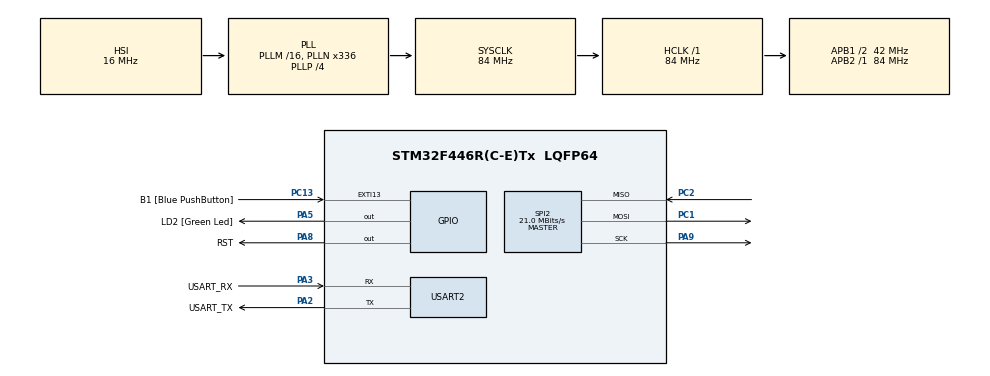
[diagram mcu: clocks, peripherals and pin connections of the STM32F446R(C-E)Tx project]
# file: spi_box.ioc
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Mcu.Family=STM32F4
Mcu.Name=STM32F446R(C-E)Tx
Mcu.Package=LQFP64
NVIC.PriorityGroup=NVIC_PRIORITYGROUP_0
PA13.GPIO_Label=TMS
PA13.Mode=Serial_Wire
PA13.Signal=SYS_JTMS-SWDIO
PA14.GPIO_Label=TCK
PA14.Mode=Serial_Wire
PA14.Signal=SYS_JTCK-SWCLK
PA2.GPIO_Label=USART_TX
PA2.Mode=Asynchronous
PA2.Signal=USART2_TX
PA3.GPIO_Label=USART_RX
PA3.Mode=Asynchronous
PA3.Signal=USART2_RX
PA5.GPIO_Label=LD2 [Green Led]
PA5.Signal=GPIO_Output
PA8.GPIO_Label=RST
PA8.Signal=GPIO_Output
PA9.Mode=Full_Duplex_Master
PA9.Signal=SPI2_SCK
PB12.Signal=SPI2_NSS
PB3.GPIO_Label=SWO
PB3.Signal=SYS_JTDO-SWO
PC1.Mode=Full_Duplex_Master
PC1.Signal=SPI2_MOSI
PC13.GPIO_Label=B1 [Blue PushButton]
PC13.GPIO_ModeDefaultEXTI=GPIO_MODE_IT_FALLING
PC13.Signal=GPXTI13
PC14-OSC32_IN.Mode=LSE-External-Oscillator
PC14-OSC32_IN.Signal=RCC_OSC32_IN
PC15-OSC32_OUT.Mode=LSE-External-Oscillator
PC15-OSC32_OUT.Signal=RCC_OSC32_OUT
PC2.Mode=Full_Duplex_Master
PC2.Signal=SPI2_MISO
PH0-OSC_IN.Mode=HSE-External-Oscillator
PH0-OSC_IN.Signal=RCC_OSC_IN
PH1-OSC_OUT.Mode=HSE-External-Oscillator
PH1-OSC_OUT.Signal=RCC_OSC_OUT
ProjectManager.HeapSize=0x200
ProjectManager.StackSize=0x400
ProjectManager.TargetToolchain=STM32CubeIDE
RCC.48MHZClocksFreq_Value=84000000
RCC.AHBFreq_Value=84000000
RCC.APB1CLKDivider=RCC_HCLK_DIV2
RCC.APB1Freq_Value=42000000
RCC.APB1TimFreq_Value=84000000
RCC.APB2Freq_Value=84000000
RCC.APB2TimFreq_Value=84000000
RCC.CortexFreq_Value=84000000
RCC.FLatency-AdvancedSettings=FLASH_LATENCY_2
RCC.HCLKFreq_Value=84000000
RCC.HSE_VALUE=8000000
RCC.HSI_VALUE=16000000
RCC.PLLN=336
RCC.PLLP=RCC_PLLP_DIV4
RCC.SYSCLKFreq_VALUE=84000000
RCC.SYSCLKSource=RCC_SYSCLKSOURCE_PLLCLK
RCC.USBFreq_Value=168000000
RCC.VCOOutputFreq_Value=336000000
SPI2.CalculateBaudRate=21.0 MBits/s
SPI2.Direction=SPI_DIRECTION_2LINES
SPI2.Mode=SPI_MODE_MASTER
SPI2.VirtualType=VM_MASTER
USART2.VirtualMode=VM_ASYNC
board=NUCLEO-F446RE

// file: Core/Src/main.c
/* USER CODE BEGIN Header */
/**
  ******************************************************************************
  * @file           : main.c
  * @brief          : Main program body
  ******************************************************************************
  * @attention
  *
  * Copyright (c) 2024 STMicroelectronics.
  * All rights reserved.
  *
  * This software is licensed under terms that can be found in the LICENSE file
  * in the root directory of this software component.
  * If no LICENSE file comes with this software, it is provided AS-IS.
  *
  ******************************************************************************
  */
/* USER CODE END Header */
#include "main.h"

/* USER CODE BEGIN Includes */
#include "rc522.h"
/* USER CODE END Includes */

SPI_HandleTypeDef hspi2;

UART_HandleTypeDef huart2;

void SystemClock_Config(void);
static void MX_GPIO_Init(void);
static void MX_USART2_UART_Init(void);
static void MX_SPI2_Init(void);
/* USER CODE BEGIN PFP */
uint8_t cardPresent = 0;
uint8_t cardID[4];

/* USER CODE END PFP */

/* USER CODE BEGIN 0 */
void initLED(void) {
    GPIO_InitTypeDef GPIO_InitStruct;
    GPIO_InitStruct.Pin = LED_PIN;
    GPIO_InitStruct.Mode = GPIO_MODE_OUTPUT;
    GPIO_InitStruct.Pull = GPIO_NOPULL;
    HAL_GPIO_Init(LED_GPIO_PORT, &GPIO_InitStruct);
}

void blinkLED(uint8_t times, uint16_t delay) {
    for (uint8_t i = 0; i < times; i++) {
        HAL_GPIO_WritePin(LED_GPIO_PORT, LED_PIN, GPIO_PIN_SET);
        HAL_Delay(delay);
        HAL_GPIO_WritePin(LED_GPIO_PORT, LED_PIN, GPIO_PIN_RESET);
        HAL_Delay(delay);
    }
}

/* USER CODE END 0 */

int main(void)
{

  /* MCU Configuration--------------------------------------------------------*/

  /* Reset of all peripherals, Initializes the Flash interface and the Systick. */
  HAL_Init();

  /* Configure the system clock */
  SystemClock_Config();

  /* Initialize all configured peripherals */
  MX_GPIO_Init();
  MX_USART2_UART_Init();
  MX_SPI2_Init();
  /* USER CODE BEGIN 2 */
  initLED();
     rc522_init();

  /* USER CODE END 2 */

  /* Infinite loop */
  while (1)
  {
	  if (rc522_checkCard(cardID)) {
	             cardPresent = 1;
	             if (cardPresent == 1) {
	                 blinkLED(1, 1000); // Blink LED once with 1s delay
	             } else if (cardPresent == 2) {
	                 blinkLED(3, 500); // Blink LED three times with 500ms delay
	             } else if (cardPresent == 3) {
	                 blinkLED(3, 500); // Blink LED three times with 500ms delay
	             }
	             cardPresent++;
	         } else {
	             cardPresent = 0;
	         }
	         HAL_Delay(100);
	     }
  }

void SystemClock_Config(void)
{
  RCC_OscInitTypeDef RCC_OscInitStruct = {0};
  RCC_ClkInitTypeDef RCC_ClkInitStruct = {0};

  /** Configure the main internal regulator output voltage
  */
  __HAL_RCC_PWR_CLK_ENABLE();
  __HAL_PWR_VOLTAGESCALING_CONFIG(PWR_REGULATOR_VOLTAGE_SCALE3);

  /** Initializes the RCC Oscillators according to the specified parameters
  * in the RCC_OscInitTypeDef structure.
  */
  RCC_OscInitStruct.OscillatorType = RCC_OSCILLATORTYPE_HSI;
  RCC_OscInitStruct.HSIState = RCC_HSI_ON;
  RCC_OscInitStruct.HSICalibrationValue = RCC_HSICALIBRATION_DEFAULT;
  RCC_OscInitStruct.PLL.PLLState = RCC_PLL_ON;
  RCC_OscInitStruct.PLL.PLLSource = RCC_PLLSOURCE_HSI;
  RCC_OscInitStruct.PLL.PLLM = 16;
  RCC_OscInitStruct.PLL.PLLN = 336;
  RCC_OscInitStruct.PLL.PLLP = RCC_PLLP_DIV4;
  RCC_OscInitStruct.PLL.PLLQ = 2;
  RCC_OscInitStruct.PLL.PLLR = 2;
  if (HAL_RCC_OscConfig(&RCC_OscInitStruct) != HAL_OK)
  {
    Error_Handler();
  }

  /** Initializes the CPU, AHB and APB buses clocks
  */
  RCC_ClkInitStruct.ClockType = RCC_CLOCKTYPE_HCLK|RCC_CLOCKTYPE_SYSCLK
                              |RCC_CLOCKTYPE_PCLK1|RCC_CLOCKTYPE_PCLK2;
  RCC_ClkInitStruct.SYSCLKSource = RCC_SYSCLKSOURCE_PLLCLK;
  RCC_ClkInitStruct.AHBCLKDivider = RCC_SYSCLK_DIV1;
  RCC_ClkInitStruct.APB1CLKDivider = RCC_HCLK_DIV2;
  RCC_ClkInitStruct.APB2CLKDivider = RCC_HCLK_DIV1;

  if (HAL_RCC_ClockConfig(&RCC_ClkInitStruct, FLASH_LATENCY_2) != HAL_OK)
  {
    Error_Handler();
  }
}

static void MX_SPI2_Init(void)
{

  /* SPI2 parameter configuration*/
  hspi2.Instance = SPI2;
  hspi2.Init.Mode = SPI_MODE_MASTER;
  hspi2.Init.Direction = SPI_DIRECTION_2LINES;
  hspi2.Init.DataSize = SPI_DATASIZE_8BIT;
  hspi2.Init.CLKPolarity = SPI_POLARITY_LOW;
  hspi2.Init.CLKPhase = SPI_PHASE_1EDGE;
  hspi2.Init.NSS = SPI_NSS_SOFT;
  hspi2.Init.BaudRatePrescaler = SPI_BAUDRATEPRESCALER_2;
  hspi2.Init.FirstBit = SPI_FIRSTBIT_MSB;
  hspi2.Init.TIMode = SPI_TIMODE_DISABLE;
  hspi2.Init.CRCCalculation = SPI_CRCCALCULATION_DISABLE;
  hspi2.Init.CRCPolynomial = 10;
  if (HAL_SPI_Init(&hspi2) != HAL_OK)
  {
    Error_Handler();
  }

}

static void MX_USART2_UART_Init(void)
{

  huart2.Instance = USART2;
  huart2.Init.BaudRate = 115200;
  huart2.Init.WordLength = UART_WORDLENGTH_8B;
  huart2.Init.StopBits = UART_STOPBITS_1;
  huart2.Init.Parity = UART_PARITY_NONE;
  huart2.Init.Mode = UART_MODE_TX_RX;
  huart2.Init.HwFlowCtl = UART_HWCONTROL_NONE;
  huart2.Init.OverSampling = UART_OVERSAMPLING_16;
  if (HAL_UART_Init(&huart2) != HAL_OK)
  {
    Error_Handler();
  }

}

static void MX_GPIO_Init(void)
{
  GPIO_InitTypeDef GPIO_InitStruct = {0};

  /* GPIO Ports Clock Enable */
  __HAL_RCC_GPIOC_CLK_ENABLE();
  __HAL_RCC_GPIOH_CLK_ENABLE();
  __HAL_RCC_GPIOA_CLK_ENABLE();
  __HAL_RCC_GPIOB_CLK_ENABLE();

  /*Configure GPIO pin Output Level */
  HAL_GPIO_WritePin(GPIOA, LD2_Pin|RST_Pin, GPIO_PIN_RESET);

  /*Configure GPIO pin : B1_Pin */
  GPIO_InitStruct.Pin = B1_Pin;
  GPIO_InitStruct.Mode = GPIO_MODE_IT_FALLING;
  GPIO_InitStruct.Pull = GPIO_NOPULL;
  HAL_GPIO_Init(B1_GPIO_Port, &GPIO_InitStruct);

  /*Configure GPIO pins : LD2_Pin RST_Pin */
  GPIO_InitStruct.Pin = LD2_Pin|RST_Pin;
  GPIO_InitStruct.Mode = GPIO_MODE_OUTPUT_PP;
  GPIO_InitStruct.Pull = GPIO_NOPULL;
  GPIO_InitStruct.Speed = GPIO_SPEED_FREQ_LOW;
  HAL_GPIO_Init(GPIOA, &GPIO_InitStruct);

}

void Error_Handler(void)
{
  __disable_irq();
  while (1)
  {
  }
}
